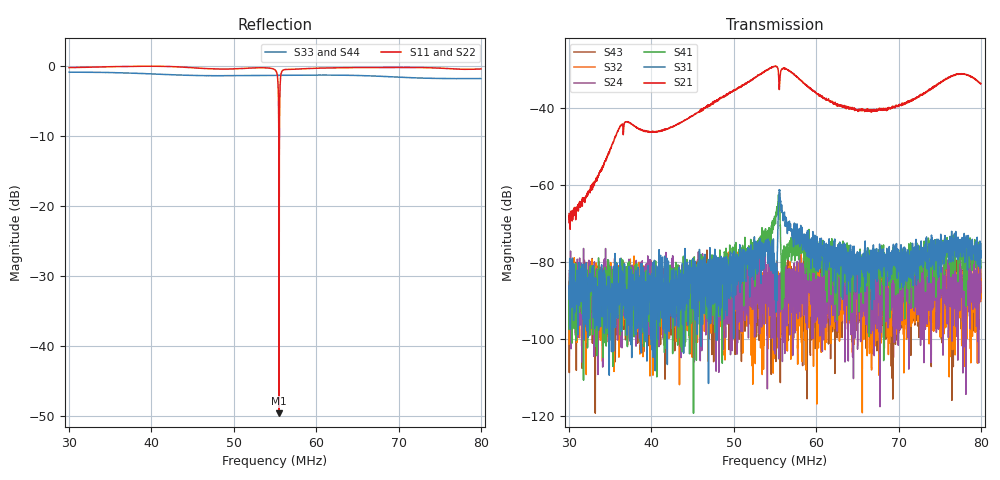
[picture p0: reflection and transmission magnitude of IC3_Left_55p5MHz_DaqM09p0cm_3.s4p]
#  HZ  S  DB  R  50.00
! Rohde & Schwarz Vector Network Analyzer
! Rohde-Schwarz,ZNB8-4Port,1311601044102961,2.82
! Created: UTC 2/13/2019, 9:50:23 AM
! freq[Hz]  db:S11  ang:S11  db:S12  ang:S12  db:S13  ang:S13  db:S14  ang:S14
!  db:S21  ang:S21  db:S22  ang:S22  db:S23  ang:S23  db:S24  ang:S24
!  db:S31  ang:S31  db:S32  ang:S32  db:S33  ang:S33  db:S34  ang:S34
!  db:S41  ang:S41  db:S42  ang:S42  db:S43  ang:S43  db:S44  ang:S44
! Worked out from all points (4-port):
!   2001 points, 30 MHz to 80 MHz, reference 50 ohm
!   strongest paths, dB at 30 MHz, 42.5 MHz, 55 MHz, 67.5 MHz, 80 MHz:
!     S21: -67.4, -44.9, -29.1, -40.6, -33.6
!     S31: -86.2, -94.1, -89.9, -81.8, -75.3
!     S41: -89.8, -90.0, -69.4, -81.3, -81.5
!     S24: -86.8, -97.4, -83.4, -87.2, -85.1
!     S32: -101.4, -88.1, -83.9, -95.8, -90.1
!     S43: -85.5, -93.6, -82.1, -79.5, -88.5
!   lowest |S11| = -49.6 dB at 55.5 MHz (marker M1), VSWR 1.01, Z = 50.1 - j0.32 ohm
!   |S11| at or under -10 dB: 55.45943 MHz to 55.5395 MHz (80.07 kHz wide, 0.144 % of centre)
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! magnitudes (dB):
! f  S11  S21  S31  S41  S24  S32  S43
! 30 MHz  -0.3  -67.4  -86.2  -89.8  -86.8  -101.4  -85.5
! 36.92 MHz  -0.1  -43.5  -90.3  -81.2  -86.5  -87.0  -84.8
! 55.02 MHz  -0.6  -29.0  -85.0  -68.3  -103.9  -87.3  -84.8
! 55.5 MHz  -49.6  -34.5  -61.6  -62.7  -88.0  -92.1  -88.2
! 56 MHz  -0.6  -29.6  -69.3  -81.4  -86.9  -96.0  -86.2
! 65.1 MHz  -0.3  -40.5  -79.2  -81.0  -92.6  -84.6  -86.7
! 80 MHz  -0.5  -33.6  -75.3  -81.5  -85.1  -90.1  -88.5
